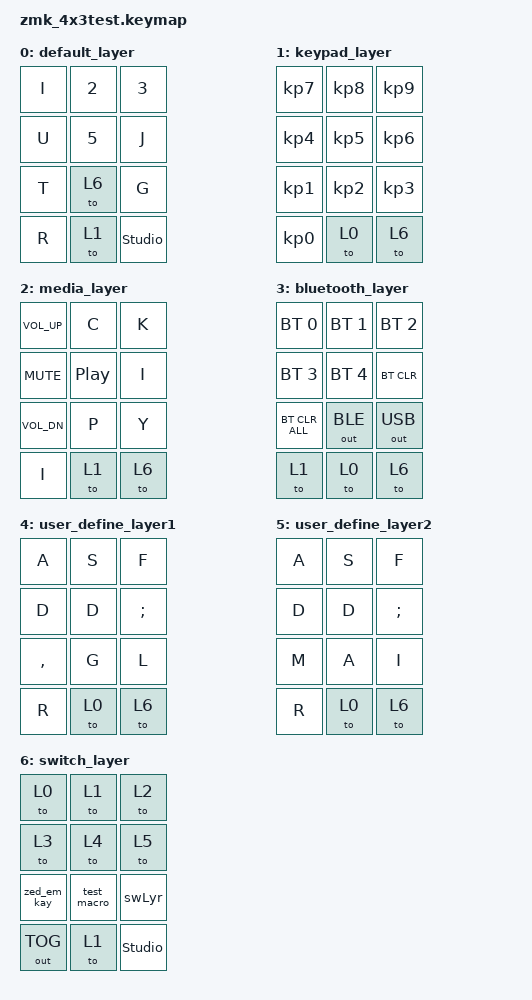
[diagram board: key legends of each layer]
#include <behaviors.dtsi>
#include <dt-bindings/zmk/keys.h>
#include <dt-bindings/zmk/bt.h>
#include <dt-bindings/zmk/outputs.h> // for OUT_TOG

&kscan0 {
    debounce-press-ms = <3>;
    debounce-release-ms = <3>;
};

/ {
    macros {  // https://v0-3-branch.zmk.dev/docs/keymaps/behaviors/macros
        zed_em_kay: zed_em_kay {
            compatible = "zmk,behavior-macro";
            #binding-cells = <0>;
            bindings = <&macro_press &kp LSHFT>
                , <&macro_tap &kp Z &kp M &kp K>
                , <&macro_release &kp LSHFT> ;
        };

        test_macro: test_macro {
            compatible = "zmk,behavior-macro";
            #binding-cells = <0>;
            bindings = <&macro_tap &kp L &kp A &kp Y &kp E &kp R
                                &kp S &kp W &kp I &kp T &kp C &kp H> ;
        };

        swLyr: swLyr {
            compatible = "zmk,behavior-macro";
            #binding-cells = <0>;
            bindings = <&macro_tap &to 1 &kp LOCKING_NUM> ;
        };

        // Ä (Alt + 0228)
        ae_win: ae_win {
            compatible = "zmk,behavior-macro";
            #binding-cells = <0>;
            // wait-ms = <10>; tap-ms = <10>;
            bindings = <&macro_press &kp LALT>, <&macro_tap &kp KP_N0 &kp KP_N2 &kp KP_N2 &kp KP_N8>, <&macro_release &kp LALT>;
        };

        // Ö (Alt + 0246)
        oe_win: oe_win {
            compatible = "zmk,behavior-macro";
            #binding-cells = <0>;
            // wait-ms = <10>; tap-ms = <10>;
            bindings = <&macro_press &kp LALT>, <&macro_tap &kp KP_N0 &kp KP_N2 &kp KP_N4 &kp KP_N6>, <&macro_release &kp LALT>;
        };

        // Ü (Alt + 0252)
        ue_win: ue_win {
            compatible = "zmk,behavior-macro";
            #binding-cells = <0>;
            // wait-ms = <10>; tap-ms = <10>;
            bindings = <&macro_press &kp LALT>, <&macro_tap &kp KP_N0 &kp KP_N2 &kp KP_N5 &kp KP_N2>, <&macro_release &kp LALT>;
        };

        // ß (Alt + 0223)
        ss_win: ss_win {
            compatible = "zmk,behavior-macro";
            #binding-cells = <0>;
            // wait-ms = <10>; tap-ms = <10>;
            bindings = <&macro_press &kp LALT>, <&macro_tap &kp KP_N0 &kp KP_N2 &kp KP_N2 &kp KP_N3>, <&macro_release &kp LALT>;
        };
        
        // Ä (Option + U, 然後 A)
        ae_mac: ae_mac {
            compatible = "zmk,behavior-macro";
            #binding-cells = <0>;
            // wait-ms = <30>; tap-ms = <30>;
            bindings = <&macro_press &kp LALT>, <&macro_tap &kp U>, <&macro_release &kp LALT>, <&macro_tap &kp A>;
        };

        // Ö (Option + U, 然後 O)
        oe_mac: oe_mac {
            compatible = "zmk,behavior-macro";
            #binding-cells = <0>;
            // wait-ms = <30>; tap-ms = <30>;
            bindings = <&macro_press &kp LALT>, <&macro_tap &kp U>, <&macro_release &kp LALT>, <&macro_tap &kp O>;
        };

        // Ü (Option + U, 然後 U)
        ue_mac: ue_mac {
            compatible = "zmk,behavior-macro";
            #binding-cells = <0>;
            // wait-ms = <30>; tap-ms = <30>;
            bindings = <&macro_press &kp LALT>, <&macro_tap &kp U>, <&macro_release &kp LALT>, <&macro_tap &kp U>;
        };

        // ß (Option + S)
        ss_mac: ss_mac {
            compatible = "zmk,behavior-macro";
            #binding-cells = <0>;
            // wait-ms = <30>; tap-ms = <30>;
            bindings = <&macro_press &kp LALT>, <&macro_tap &kp S>, <&macro_release &kp LALT>;
        };
    };

    combos {
        compatible = "zmk,combos";

        combo_ae_win {
            timeout-ms = <50>;
            key-positions = <0 3>;
            bindings = <&ae_win>;
            layers = <4>;
        };

        combo_oe_win {
            timeout-ms = <50>;
            key-positions = <1 3>;
            bindings = <&oe_win>;
            layers = <4>;
        };

        combo_ue_win {
            timeout-ms = <50>;
            key-positions = <2 3>;
            bindings = <&ue_win>;
            layers = <4>;
        };

        combo_ss_win {
            timeout-ms = <50>;
            key-positions = <3 5>;
            bindings = <&ss_win>;
            layers = <4>;
        };
        
        combo_ae_mac {
            timeout-ms = <50>;
            key-positions = <0 3>;
            bindings = <&ae_mac>;
            layers = <5>;
        };

        combo_oe_mac {
            timeout-ms = <50>;
            key-positions = <1 3>;
            bindings = <&oe_mac>;
            layers = <5>;
        };

        combo_ue_mac {
            timeout-ms = <50>;
            key-positions = <2 3>;
            bindings = <&ue_mac>;
            layers = <5>;
        };

        combo_ss_mac {
            timeout-ms = <50>;
            key-positions = <3 5>;
            bindings = <&ss_mac>;
            layers = <5>;
        };
    };

    keymap {
        compatible = "zmk,keymap";


        default_layer { // Layer 0
            // -------------------------------------
            // |     Z     |     M     |     K     |
            // |     A     |     B     |     C     |
            // |     D     |     E     |     F     |
            bindings = <
                &kp I    &kp 2    &kp 3
                &kp U    &kp 5    &kp J
                &kp T    &to 6    &kp G
                &kp R    &to 1    &studio_unlock
            >;
        };

        keypad_layer { // Layer 1
            bindings = <
                &kp KP_N7 &kp KP_N8 &kp KP_N9
                &kp KP_N4 &kp KP_N5 &kp KP_N6
                &kp KP_N1 &kp KP_N2 &kp KP_N3
                &kp KP_N0 &to 0     &to 6
            >;
        };

        media_layer { // Layer 2
            // kp C = J, P = L, Y = F, K = T, I = C
            bindings = <
                &kp C_VOL_UP &kp C            &kp K
                &kp C_MUTE   &kp C_PLAY_PAUSE &kp I
                &kp C_VOL_DN &kp P            &kp Y
                &kp I        &to 1            &to 6
            >;
        };

        bluetooth_layer { // Layer 3
            bindings = <
                &bt BT_SEL 0   &bt BT_SEL 1 &bt BT_SEL 2
                &bt BT_SEL 3   &bt BT_SEL 4 &bt BT_CLR 
                &bt BT_CLR_ALL &out OUT_BLE &out OUT_USB
                &to 1          &to 0        &to 6
            >;
        };

        user_define_layer1 { // Layer 4, äöüß test, Windows, Dvorak
            bindings = <
                &kp A &kp S &kp F
                &kp D &kp D &kp SEMICOLON
                &kp COMMA &kp G &kp L
                &kp R &to 0 &to 6
            >;
        };

        user_define_layer2 { // Layer 5, äöüß test, Windows, Dvorak
            bindings = <
                &kp A &kp S &kp F
                &kp D &kp D &kp SEMICOLON
                &kp M &kp A &kp I
                &kp R &to 0 &to 6
            >;
        };

        switch_layer {
            bindings = <
                &to 0  &to 1  &to 2
                &to 3  &to 4  &to 5
                &zed_em_kay  &test_macro &swLyr
                &out OUT_TOG &to 1       &studio_unlock
            >;
        };
    };
};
